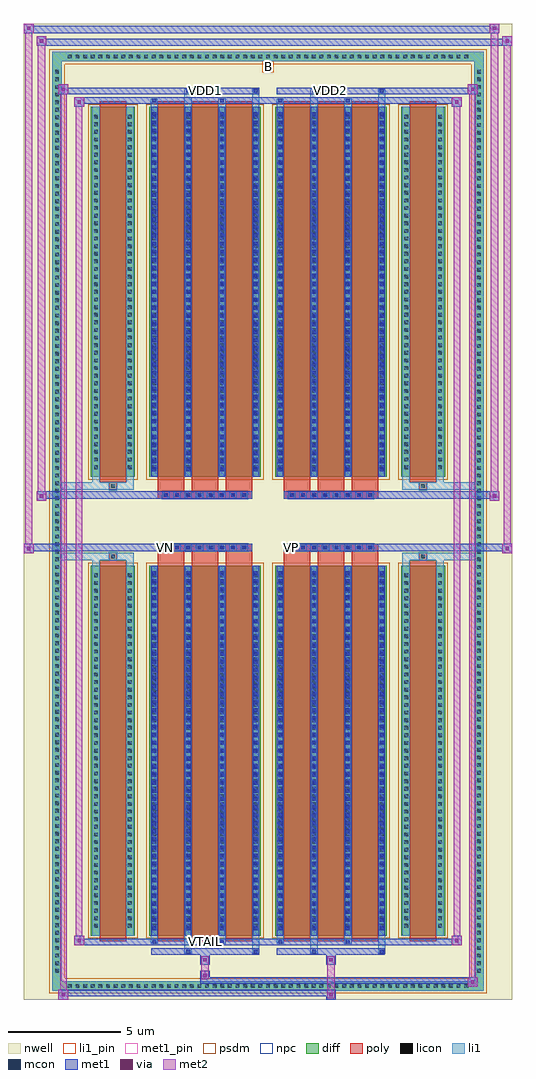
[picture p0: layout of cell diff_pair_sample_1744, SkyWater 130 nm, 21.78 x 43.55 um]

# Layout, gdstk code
import gdstk
lib = gdstk.Library(unit=1e-6, precision=5e-09)
def R(c, l, rs):  # rectangles x0, y0, x1, y1
    for r in rs: c.add(gdstk.rectangle(r[:2], r[2:], *l))
def A(c, l, x, y, w, h, nx, ny, dx, dy):  # array of equal rectangles
    R(c, l, [(x+i*dx, y+j*dy, x+i*dx+w, y+j*dy+h) for i in range(nx) for j in range(ny)])
def P(c, l, *ps):  # polygons
    for p in ps: c.add(gdstk.Polygon(p, *l))
nwell = (64, 20)
diff = (65, 20)
poly = (66, 20)
licon = (66, 44)
li1_pin = (67, 16)
li1 = (67, 20)
mcon = (67, 44)
met1_pin = (68, 16)
met1 = (68, 20)
via = (68, 44)
met2 = (69, 20)
psdm = (94, 20)
npc = (95, 20)

diff_pair_sample_1744 = lib.new_cell('diff_pair_sample_1744')
R(diff_pair_sample_1744, nwell, [(-10.89,-21.34,10.89,22.21), (-8.21,-19.53,-0.01,-0.805), (0.01,-19.53,8.21,-0.805), (-8.21,0.805,-0.01,19.53), (0.01,0.805,8.21,19.53)])
A(diff_pair_sample_1744, diff, -9.045, -20.94, 0.41, 0.41, 53, 2, 0.34, 41.47)
A(diff_pair_sample_1744, diff, -9.62, -20.265, 0.41, 0.41, 1, 119, 0, 0.34)
A(diff_pair_sample_1744, diff, 9.21, -20.265, 0.41, 0.41, 1, 119, 0, 0.34)
R(diff_pair_sample_1744, diff, [(-9.045,-20.94,9.045,-20.53), (-9.62,-20.265,-9.21,20.265), (9.21,-20.265,9.62,20.265), (-7.9,-18.485,-5.94,-1.985), (-5.3,-18.485,-0.32,-1.985), (0.32,-18.485,5.3,-1.985), (5.94,-18.485,7.9,-1.985), (-7.9,1.985,-5.94,18.485), (-5.3,1.985,-0.32,18.485), (0.32,1.985,5.3,18.485), (5.94,1.985,7.9,18.485), (-9.045,20.53,9.045,20.94)])
P(diff_pair_sample_1744, diff, [(9.62,20.94),(-9.62,20.94),(-9.62,-20.53),(-9.21,-20.53),(-9.21,20.53),(9.21,20.53),(9.21,-20.53),(-9.21,-20.53),(-9.62,-20.53),(-9.62,-20.94),(9.62,-20.94)])
A(diff_pair_sample_1744, poly, -4.91, -18.735, 1.18, 17, 3, 2, 1.51, 20.47)
A(diff_pair_sample_1744, poly, 0.71, -18.735, 1.18, 17, 3, 2, 1.51, 20.47)
A(diff_pair_sample_1744, poly, -4.91, -1.735, 1.18, 0.4, 3, 2, 1.51, 3.07)
A(diff_pair_sample_1744, poly, 0.71, -1.735, 1.18, 0.4, 3, 2, 1.51, 3.07)
A(diff_pair_sample_1744, poly, -4.725, -1.335, 0.33, 0.33, 8, 2, 0.5, 2.34)
A(diff_pair_sample_1744, poly, 0.895, -1.335, 0.33, 0.33, 8, 2, 0.5, 2.34)
R(diff_pair_sample_1744, poly, [(-7.51,-18.735,-6.33,-1.735), (6.33,-18.735,7.51,-1.735), (-7.085,-1.735,-6.755,-1.405), (-7.085,-1.735,-6.755,-1.405), (6.755,-1.735,7.085,-1.405), (6.755,-1.735,7.085,-1.405), (-4.91,-1.335,-0.71,-1.005), (0.71,-1.335,4.91,-1.005), (-4.91,1.005,-0.71,1.335), (0.71,1.005,4.91,1.335), (-7.085,1.405,-6.755,1.735), (-7.085,1.405,-6.755,1.735), (6.755,1.405,7.085,1.735), (6.755,1.405,7.085,1.735), (-7.51,1.735,-6.33,18.735), (6.33,1.735,7.51,18.735)])
A(diff_pair_sample_1744, licon, -8.925, -20.82, 0.17, 0.17, 53, 2, 0.34, 41.47)
A(diff_pair_sample_1744, licon, -9.5, -20.145, 0.17, 0.17, 1, 119, 0, 0.34)
A(diff_pair_sample_1744, licon, 9.33, -20.145, 0.17, 0.17, 1, 119, 0, 0.34)
A(diff_pair_sample_1744, licon, -7.76, -18.14, 0.17, 0.17, 1, 47, 0, 0.34)
A(diff_pair_sample_1744, licon, -6.25, -18.14, 0.17, 0.17, 1, 47, 0, 0.34)
A(diff_pair_sample_1744, licon, -5.16, -18.14, 0.17, 0.17, 4, 47, 1.51, 0.34)
A(diff_pair_sample_1744, licon, 0.46, -18.14, 0.17, 0.17, 4, 47, 1.51, 0.34)
A(diff_pair_sample_1744, licon, 6.08, -18.14, 0.17, 0.17, 1, 47, 0, 0.34)
A(diff_pair_sample_1744, licon, 7.59, -18.14, 0.17, 0.17, 1, 47, 0, 0.34)
A(diff_pair_sample_1744, licon, -4.645, -1.255, 0.17, 0.17, 8, 2, 0.5, 2.34)
A(diff_pair_sample_1744, licon, 0.975, -1.255, 0.17, 0.17, 8, 2, 0.5, 2.34)
A(diff_pair_sample_1744, licon, -7.76, 2.33, 0.17, 0.17, 1, 47, 0, 0.34)
A(diff_pair_sample_1744, licon, -6.25, 2.33, 0.17, 0.17, 1, 47, 0, 0.34)
A(diff_pair_sample_1744, licon, -5.16, 2.33, 0.17, 0.17, 4, 47, 1.51, 0.34)
A(diff_pair_sample_1744, licon, 0.46, 2.33, 0.17, 0.17, 4, 47, 1.51, 0.34)
A(diff_pair_sample_1744, licon, 6.08, 2.33, 0.17, 0.17, 1, 47, 0, 0.34)
A(diff_pair_sample_1744, licon, 7.59, 2.33, 0.17, 0.17, 1, 47, 0, 0.34)
R(diff_pair_sample_1744, licon, [(-7.005,-1.655,-6.835,-1.485), (6.835,-1.655,7.005,-1.485), (-7.005,1.485,-6.835,1.655), (6.835,1.485,7.005,1.655)])
R(diff_pair_sample_1744, li1_pin, [(-0.25,20.03,0.25,20.53)])
A(diff_pair_sample_1744, li1, -9.005, -20.9, 0.33, 0.33, 53, 2, 0.34, 41.47)
A(diff_pair_sample_1744, li1, -9.58, -20.225, 0.33, 0.33, 1, 119, 0, 0.34)
A(diff_pair_sample_1744, li1, 9.25, -20.225, 0.33, 0.33, 1, 119, 0, 0.34)
A(diff_pair_sample_1744, li1, -5.24, -18.485, 0.33, 16.5, 4, 2, 1.51, 20.47)
A(diff_pair_sample_1744, li1, 0.38, -18.485, 0.33, 16.5, 4, 2, 1.51, 20.47)
A(diff_pair_sample_1744, li1, -5.16, -18.24, 0.17, 0.17, 4, 45, 1.51, 0.36)
A(diff_pair_sample_1744, li1, -5.16, -18.24, 0.17, 16.01, 4, 2, 1.51, 20.47)
A(diff_pair_sample_1744, li1, 0.46, -18.24, 0.17, 0.17, 4, 45, 1.51, 0.36)
A(diff_pair_sample_1744, li1, 0.46, -18.24, 0.17, 16.01, 4, 2, 1.51, 20.47)
A(diff_pair_sample_1744, li1, -7.84, -18.22, 0.33, 0.33, 1, 47, 0, 0.34)
A(diff_pair_sample_1744, li1, -6.33, -18.22, 0.33, 0.33, 1, 47, 0, 0.34)
A(diff_pair_sample_1744, li1, -5.24, -18.22, 0.33, 0.33, 4, 47, 1.51, 0.34)
A(diff_pair_sample_1744, li1, 0.38, -18.22, 0.33, 0.33, 4, 47, 1.51, 0.34)
A(diff_pair_sample_1744, li1, 6, -18.22, 0.33, 0.33, 1, 47, 0, 0.34)
A(diff_pair_sample_1744, li1, 7.51, -18.22, 0.33, 0.33, 1, 47, 0, 0.34)
A(diff_pair_sample_1744, li1, -4.725, -1.335, 0.33, 0.33, 8, 2, 0.5, 2.34)
A(diff_pair_sample_1744, li1, 0.895, -1.335, 0.33, 0.33, 8, 2, 0.5, 2.34)
A(diff_pair_sample_1744, li1, -5.16, 2.23, 0.17, 0.17, 4, 45, 1.51, 0.36)
A(diff_pair_sample_1744, li1, 0.46, 2.23, 0.17, 0.17, 4, 45, 1.51, 0.36)
A(diff_pair_sample_1744, li1, -7.84, 2.25, 0.33, 0.33, 1, 47, 0, 0.34)
A(diff_pair_sample_1744, li1, -6.33, 2.25, 0.33, 0.33, 1, 47, 0, 0.34)
A(diff_pair_sample_1744, li1, -5.24, 2.25, 0.33, 0.33, 4, 47, 1.51, 0.34)
A(diff_pair_sample_1744, li1, 0.38, 2.25, 0.33, 0.33, 4, 47, 1.51, 0.34)
A(diff_pair_sample_1744, li1, 6, 2.25, 0.33, 0.33, 1, 47, 0, 0.34)
A(diff_pair_sample_1744, li1, 7.51, 2.25, 0.33, 0.33, 1, 47, 0, 0.34)
R(diff_pair_sample_1744, li1, [(-9.62,-20.94,-9.21,-20.53), (-9.62,-20.94,-9.21,-20.53), (-9.21,-20.94,9.21,-20.53), (9.21,-20.94,9.62,-20.53), (9.21,-20.94,9.62,-20.53), (-9.62,-20.53,-9.21,20.53), (9.21,-20.53,9.62,20.53), (-3.73,-19.29,-3.4,-18.485), (-3.65,-19.29,-3.48,-19.12), (-0.71,-19.29,-0.38,-18.485), (-0.63,-19.29,-0.46,-19.12), (1.89,-19.29,2.22,-18.485), (1.97,-19.29,2.14,-19.12), (4.91,-19.29,5.24,-18.485), (4.99,-19.29,5.16,-19.12), (-5.24,-18.86,-4.91,-18.485), (-5.16,-18.86,-4.99,-18.69), (-2.22,-18.86,-1.89,-18.485), (-2.14,-18.86,-1.97,-18.69), (0.38,-18.86,0.71,-18.485), (0.46,-18.86,0.63,-18.69), (3.4,-18.86,3.73,-18.485), (3.48,-18.86,3.65,-18.69), (-7.84,-18.485,-7.51,-1.985), (-6.33,-18.485,-6,-1.985), (6,-18.485,6.33,-1.985), (7.51,-18.485,7.84,-1.985), (-7.84,-1.985,-7.51,-1.405), (-6.33,-1.985,-6,-1.405), (6,-1.985,6.33,-1.405), (7.51,-1.985,7.84,-1.405), (-9.62,-1.735,-7.085,-1.405), (-7.84,-1.735,-7.085,-1.405), (-7.085,-1.735,-6.755,-1.405), (-6.755,-1.735,-6,-1.405), (6,-1.735,6.755,-1.405), (6.755,-1.735,7.085,-1.405), (6.755,-1.735,9.62,-1.405), (7.085,-1.735,7.84,-1.405), (-9.62,1.405,-7.085,1.735), (-7.84,1.405,-7.085,1.735), (-7.84,1.405,-7.51,1.985), (-7.085,1.405,-6.755,1.735), (-6.755,1.405,-6,1.735), (-6.33,1.405,-6,1.985), (6,1.405,6.755,1.735), (6,1.405,6.33,1.985), (6.755,1.405,7.085,1.735), (6.755,1.405,9.62,1.735), (7.085,1.405,7.84,1.735), (7.51,1.405,7.84,1.985), (-7.84,1.985,-7.51,18.485), (-6.33,1.985,-6,18.485), (6,1.985,6.33,18.485), (7.51,1.985,7.84,18.485), (-5.24,18.485,-4.91,18.86), (-3.73,18.485,-3.4,19.29), (-2.22,18.485,-1.89,18.86), (-0.71,18.485,-0.38,19.29), (0.38,18.485,0.71,18.86), (1.89,18.485,2.22,19.29), (3.4,18.485,3.73,18.86), (4.91,18.485,5.24,19.29), (-5.16,18.69,-4.99,18.86), (-2.14,18.69,-1.97,18.86), (0.46,18.69,0.63,18.86), (3.48,18.69,3.65,18.86), (-3.65,19.12,-3.48,19.29), (-0.63,19.12,-0.46,19.29), (1.97,19.12,2.14,19.29), (4.99,19.12,5.16,19.29), (-9.62,20.53,-9.21,20.94), (-9.62,20.53,-9.21,20.94), (-9.21,20.53,9.21,20.94), (9.21,20.53,9.62,20.94), (9.21,20.53,9.62,20.94)])
A(diff_pair_sample_1744, mcon, -5.16, -18.24, 0.17, 0.17, 4, 45, 1.51, 0.36)
A(diff_pair_sample_1744, mcon, 0.46, -18.24, 0.17, 0.17, 4, 45, 1.51, 0.36)
A(diff_pair_sample_1744, mcon, -4.645, -1.255, 0.17, 0.17, 8, 2, 0.5, 2.34)
A(diff_pair_sample_1744, mcon, 0.975, -1.255, 0.17, 0.17, 8, 2, 0.5, 2.34)
A(diff_pair_sample_1744, mcon, -5.16, 2.23, 0.17, 0.17, 4, 45, 1.51, 0.36)
A(diff_pair_sample_1744, mcon, 0.46, 2.23, 0.17, 0.17, 4, 45, 1.51, 0.36)
R(diff_pair_sample_1744, mcon, [(-3.65,-19.29,-3.48,-19.12), (-0.63,-19.29,-0.46,-19.12), (1.97,-19.29,2.14,-19.12), (4.99,-19.29,5.16,-19.12), (-5.16,-18.86,-4.99,-18.69), (-2.14,-18.86,-1.97,-18.69), (0.46,-18.86,0.63,-18.69), (3.48,-18.86,3.65,-18.69), (-5.16,18.69,-4.99,18.86), (-2.14,18.69,-1.97,18.86), (0.46,18.69,0.63,18.86), (3.48,18.69,3.65,18.86), (-3.65,19.12,-3.48,19.29), (-0.63,19.12,-0.46,19.29), (1.97,19.12,2.14,19.29), (4.99,19.12,5.16,19.29)])
R(diff_pair_sample_1744, met1_pin, [(-2.945,-18.9,-2.675,-18.63), (-4.695,-1.295,-4.425,-1.025), (0.925,-1.295,1.195,-1.025), (-2.945,19.08,-2.675,19.35), (2.675,19.08,2.945,19.35)])
A(diff_pair_sample_1744, met1, -5.22, -18.485, 0.29, 16.5, 4, 2, 1.51, 20.47)
A(diff_pair_sample_1744, met1, 0.4, -18.485, 0.29, 16.5, 4, 2, 1.51, 20.47)
A(diff_pair_sample_1744, met1, -5.22, -18.3, 0.29, 0.29, 4, 45, 1.51, 0.36)
A(diff_pair_sample_1744, met1, 0.4, -18.3, 0.29, 0.29, 4, 45, 1.51, 0.36)
A(diff_pair_sample_1744, met1, -4.705, -1.315, 0.29, 0.29, 8, 2, 0.5, 2.34)
A(diff_pair_sample_1744, met1, 0.915, -1.315, 0.29, 0.29, 8, 2, 0.5, 2.34)
A(diff_pair_sample_1744, met1, -5.22, 2.17, 0.29, 0.29, 4, 45, 1.51, 0.36)
A(diff_pair_sample_1744, met1, 0.4, 2.17, 0.29, 0.29, 4, 45, 1.51, 0.36)
R(diff_pair_sample_1744, met1, [(-9.35,-21.34,-8.92,-20.91), (2.595,-21.34,3.025,-20.91), (-9.35,-21.2,3.025,-20.91), (8.92,-20.77,9.35,-20.34), (-3.025,-20.63,9.35,-20.34), (-3.025,-20.49,-2.595,-20.06), (-3.025,-19.78,-2.595,-19.35), (2.595,-19.78,3.025,-19.35), (-5.22,-19.35,-0.4,-19.06), (-3.71,-19.35,-3.42,-19.06), (-0.69,-19.35,-0.4,-19.06), (0.4,-19.35,5.22,-19.06), (1.91,-19.35,2.2,-19.06), (4.93,-19.35,5.22,-19.06), (-8.64,-18.92,-8.21,-18.49), (-8.64,-18.92,-5.22,-18.63), (-5.22,-18.92,-4.93,-18.63), (-5.22,-18.92,-0.4,-18.63), (-2.2,-18.92,-1.91,-18.63), (-0.4,-18.92,0.4,-18.63), (0.4,-18.92,0.69,-18.63), (0.4,-18.92,5.22,-18.63), (3.42,-18.92,3.71,-18.63), (5.22,-18.92,8.64,-18.63), (8.21,-18.92,8.64,-18.49), (-10.89,-1.435,-10.46,-1.005), (10.46,-1.435,10.89,-1.005), (-10.89,-1.335,-0.71,-1.005), (-4.91,-1.335,-0.71,-1.005), (0.71,-1.335,4.91,-1.005), (0.71,-1.335,10.89,-1.005), (-10.32,0.905,-9.89,1.335), (9.89,0.905,10.32,1.335), (-10.32,1.005,-4.91,1.335), (-4.91,1.005,-0.71,1.335), (0.71,1.005,4.91,1.335), (4.91,1.005,10.32,1.335), (-8.64,18.49,-8.21,18.92), (8.21,18.49,8.64,18.92), (-8.64,18.63,-5.22,18.92), (-5.22,18.63,-4.93,18.92), (-5.22,18.63,-0.4,18.92), (-2.2,18.63,-1.91,18.92), (-0.4,18.63,0.4,18.92), (0.4,18.63,0.69,18.92), (0.4,18.63,5.22,18.92), (3.42,18.63,3.71,18.92), (5.22,18.63,8.64,18.92), (-9.35,19.06,-8.92,19.49), (-9.35,19.06,-5.22,19.35), (-5.22,19.06,-0.4,19.35), (-3.71,19.06,-3.42,19.35), (-0.69,19.06,-0.4,19.35), (0.4,19.06,5.22,19.35), (1.91,19.06,2.2,19.35), (4.93,19.06,5.22,19.35), (5.22,19.06,9.35,19.35), (8.92,19.06,9.35,19.49), (-10.32,21.21,-9.89,21.64), (-10.32,21.21,-8.21,21.54), (-8.21,21.21,8.21,21.54), (8.21,21.21,10.89,21.54), (10.46,21.21,10.89,21.64), (-10.89,21.78,-10.46,22.21), (-10.89,21.78,-8.21,22.11), (-8.21,21.78,8.21,22.11), (8.21,21.78,10.32,22.11), (9.89,21.78,10.32,22.21)])
R(diff_pair_sample_1744, via, [(-9.21,-21.2,-9.06,-21.05), (2.735,-21.2,2.885,-21.05), (9.06,-20.63,9.21,-20.48), (-2.885,-20.35,-2.735,-20.2), (-2.885,-19.64,-2.735,-19.49), (2.735,-19.64,2.885,-19.49), (-8.5,-18.78,-8.35,-18.63), (8.35,-18.78,8.5,-18.63), (-10.75,-1.295,-10.6,-1.145), (10.6,-1.295,10.75,-1.145), (-10.18,1.045,-10.03,1.195), (10.03,1.045,10.18,1.195), (-8.5,18.63,-8.35,18.78), (8.35,18.63,8.5,18.78), (-9.21,19.2,-9.06,19.35), (9.06,19.2,9.21,19.35), (-10.18,21.35,-10.03,21.5), (10.6,21.35,10.75,21.5), (-10.75,21.92,-10.6,22.07), (10.03,21.92,10.18,22.07)])
R(diff_pair_sample_1744, met2, [(-9.35,-21.34,-8.92,-20.91), (-9.28,-21.34,-8.99,19.49), (-8.99,-21.34,-8.92,-20.91), (-9.3,-21.29,-8.97,-20.96), (2.645,-21.29,2.975,-20.96), (2.645,-20.96,2.975,-19.73), (8.92,-20.77,9.35,-20.34), (8.99,-20.77,9.28,19.49), (9.28,-20.77,9.35,-20.34), (8.97,-20.72,9.3,-20.39), (-2.975,-20.44,-2.645,-20.11), (-2.975,-20.11,-2.645,-19.73), (-2.975,-19.73,-2.645,-19.4), (2.645,-19.73,2.975,-19.4), (-8.64,-18.92,-8.21,-18.49), (-8.57,-18.92,-8.28,18.92), (-8.28,-18.92,-8.21,-18.49), (8.21,-18.92,8.64,-18.49), (8.28,-18.92,8.57,18.92), (8.57,-18.92,8.64,-18.49), (-8.59,-18.87,-8.26,-18.54), (8.26,-18.87,8.59,-18.54), (-10.89,-1.435,-10.46,-1.005), (-10.84,-1.435,-10.51,22.21), (-10.51,-1.435,-10.46,-1.005), (10.46,-1.435,10.89,-1.005), (10.51,-1.435,10.84,21.64), (10.84,-1.435,10.89,-1.005), (-10.84,-1.385,-10.51,-1.055), (10.51,-1.385,10.84,-1.055), (-10.32,0.905,-9.89,1.335), (-10.27,0.905,-9.94,21.64), (-9.94,0.905,-9.89,1.335), (9.89,0.905,10.32,1.335), (9.94,0.905,10.27,22.21), (10.27,0.905,10.32,1.335), (-10.27,0.955,-9.94,1.285), (9.94,0.955,10.27,1.285), (-8.64,18.49,-8.21,18.92), (-8.28,18.49,-8.21,18.92), (8.21,18.49,8.64,18.92), (8.57,18.49,8.64,18.92), (-8.59,18.54,-8.26,18.87), (8.26,18.54,8.59,18.87), (-9.35,19.06,-8.92,19.49), (-8.99,19.06,-8.92,19.49), (8.92,19.06,9.35,19.49), (9.28,19.06,9.35,19.49), (-9.3,19.11,-8.97,19.44), (8.97,19.11,9.3,19.44), (-10.32,21.21,-9.89,21.64), (-9.94,21.21,-9.89,21.64), (10.46,21.21,10.89,21.64), (10.84,21.21,10.89,21.64), (-10.27,21.26,-9.94,21.59), (10.51,21.26,10.84,21.59), (-10.89,21.78,-10.46,22.21), (-10.51,21.78,-10.46,22.21), (9.89,21.78,10.32,22.21), (10.27,21.78,10.32,22.21), (-10.84,21.83,-10.51,22.16), (9.94,21.83,10.27,22.16)])
R(diff_pair_sample_1744, psdm, [(-8.03,-18.615,-5.81,-1.855), (-5.43,-18.615,-0.19,-1.855), (0.19,-18.615,5.43,-1.855), (5.81,-18.615,8.03,-1.855), (-8.03,1.855,-5.81,18.615), (-5.43,1.855,-0.19,18.615), (0.19,1.855,5.43,18.615), (5.81,1.855,8.03,18.615)])
P(diff_pair_sample_1744, psdm, [(9.75,21.07),(-9.75,21.07),(-9.75,-20.4),(-9.08,-20.4),(-9.08,20.4),(9.08,20.4),(9.08,-20.4),(-9.08,-20.4),(-9.75,-20.4),(-9.75,-21.07),(9.75,-21.07)])
A(diff_pair_sample_1744, npc, -4.745, -1.355, 0.37, 0.37, 8, 2, 0.5, 2.34)
A(diff_pair_sample_1744, npc, 0.875, -1.355, 0.37, 0.37, 8, 2, 0.5, 2.34)
R(diff_pair_sample_1744, npc, [(-7.105,-1.755,-6.735,-1.385), (6.735,-1.755,7.105,-1.385), (-4.745,-1.355,-3.875,-0.985), (-4.745,-1.355,-3.875,-0.985), (-4.245,-1.355,-3.375,-0.985), (-4.245,-1.355,-3.375,-0.985), (-3.745,-1.355,-2.875,-0.985), (-3.745,-1.355,-2.875,-0.985), (-3.245,-1.355,-2.375,-0.985), (-3.245,-1.355,-2.375,-0.985), (-2.745,-1.355,-1.875,-0.985), (-2.745,-1.355,-1.875,-0.985), (-2.245,-1.355,-1.375,-0.985), (-2.245,-1.355,-1.375,-0.985), (-1.745,-1.355,-0.875,-0.985), (-1.745,-1.355,-0.875,-0.985), (0.875,-1.355,1.745,-0.985), (0.875,-1.355,1.745,-0.985), (1.375,-1.355,2.245,-0.985), (1.375,-1.355,2.245,-0.985), (1.875,-1.355,2.745,-0.985), (1.875,-1.355,2.745,-0.985), (2.375,-1.355,3.245,-0.985), (2.375,-1.355,3.245,-0.985), (2.875,-1.355,3.745,-0.985), (2.875,-1.355,3.745,-0.985), (3.375,-1.355,4.245,-0.985), (3.375,-1.355,4.245,-0.985), (3.875,-1.355,4.745,-0.985), (3.875,-1.355,4.745,-0.985), (-4.745,0.985,-3.875,1.355), (-4.745,0.985,-3.875,1.355), (-4.245,0.985,-3.375,1.355), (-4.245,0.985,-3.375,1.355), (-3.745,0.985,-2.875,1.355), (-3.745,0.985,-2.875,1.355), (-3.245,0.985,-2.375,1.355), (-3.245,0.985,-2.375,1.355), (-2.745,0.985,-1.875,1.355), (-2.745,0.985,-1.875,1.355), (-2.245,0.985,-1.375,1.355), (-2.245,0.985,-1.375,1.355), (-1.745,0.985,-0.875,1.355), (-1.745,0.985,-0.875,1.355), (0.875,0.985,1.745,1.355), (0.875,0.985,1.745,1.355), (1.375,0.985,2.245,1.355), (1.375,0.985,2.245,1.355), (1.875,0.985,2.745,1.355), (1.875,0.985,2.745,1.355), (2.375,0.985,3.245,1.355), (2.375,0.985,3.245,1.355), (2.875,0.985,3.745,1.355), (2.875,0.985,3.745,1.355), (3.375,0.985,4.245,1.355), (3.375,0.985,4.245,1.355), (3.875,0.985,4.745,1.355), (3.875,0.985,4.745,1.355), (-7.105,1.385,-6.735,1.755), (6.735,1.385,7.105,1.755)])
diff_pair_sample_1744.add(gdstk.Label('VTAIL', (-2.81,-18.765), layer=68, texttype=5))
diff_pair_sample_1744.add(gdstk.Label('VN', (-4.56,-1.16), layer=68, texttype=5))
diff_pair_sample_1744.add(gdstk.Label('VP', (1.06,-1.16), layer=68, texttype=5))
diff_pair_sample_1744.add(gdstk.Label('B', (0,20.28), layer=67, texttype=5))
diff_pair_sample_1744.add(gdstk.Label('VDD2', (2.81,19.215), layer=68, texttype=5))
diff_pair_sample_1744.add(gdstk.Label('VDD1', (-2.81,19.215), layer=68, texttype=5))

lib.write_gds('diff_pair_sample_1744.gds')
